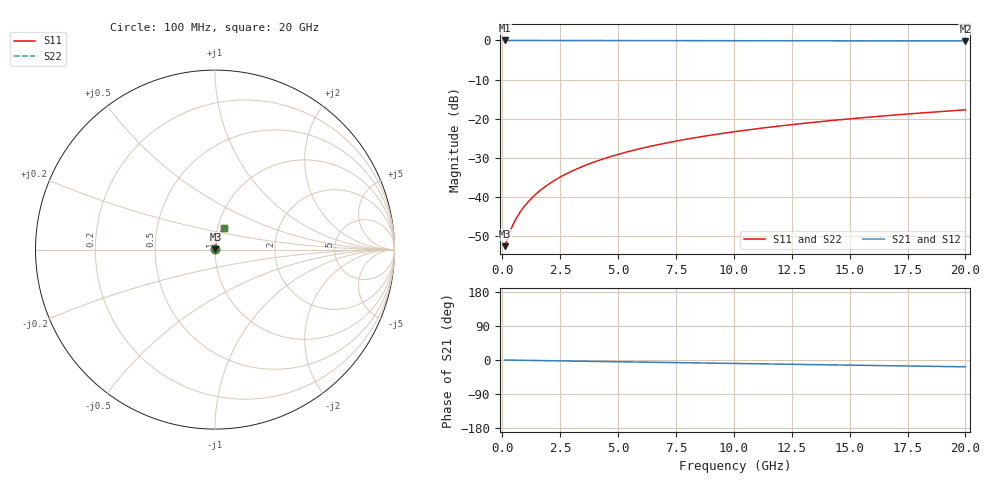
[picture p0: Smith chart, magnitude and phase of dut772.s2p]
! Touchstone file exported from HFSS 2026.1.0
!  File:  C:/ffzhzh/LocalFiles/Ansys_Project_Files/temp_train_TMRDL_772_1783155645_55132.aedt
!  Generated:  05:01:56 PM Jul  4, 2026
!  Design:  TMRDL
!  Project:  temp_train_TMRDL_772_1783155645_55132
! Variables:
!  h_bsmrdl = 2um
!  h_ox = 20um
!  h_rdl = 5um
!  h_sub = 80um
!  h_tmrdl = 3.13um
!  h_tsv = 80um
!  h_via = 3um
!  l_bsmrdl = 300um
!  l_sub = 678.77um
!  l_tmrdl = 278.77um
!  m_sub = 200um
!  pitch = 26.2um
!  r_tsv = 6um
!  s_tmrdl = 10um
!  w_bsmrdl = 18um
!  w_sub = 500um
!  w_tmrdl = 15.81um
!  x_tsv_center1 = 286.675um
!  x_tsv_center2 = 604.675um
!  x_tsv_center3 = 899.255um
!  x_tsv_center4 = 1217.255um
!  x_tsv_center5 = 1511.835um
!  x_tsv_center6 = 1829.835um
# GHz S MA R 50.000000
! Terminal data exported
! Port[1] = TM_RDL1_1_T1
! Port[2] = TM_RDL1_1_T2
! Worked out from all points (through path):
!   200 points, 100 MHz to 20 GHz, reference 50 ohm
!   highest |S21| = -0.02 dB at 100 MHz (marker M1); lowest = -0.1 dB at 20 GHz (marker M2)
!   group delay of S21, straight-line fit = 2.49 ps
!   lowest |S11| = -52.6 dB at 100 MHz (marker M3), VSWR 1.00, Z = 50.2 + j0.0842 ohm
!   |S11| at or under -10 dB: start of sweep to end of sweep
!   |S22| runs from -52.6 to -17.7 dB; largest |S21 - S12| = 4.6e-15
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0.1  0.002353 20.9  0.9978 -0.1  0.9978 -0.1  0.002353 20.9
! Gamma 0 0 0 0
! Port Impedance 50 0 50 0
0.4  0.004021 52.4  0.9975 -0.4  0.9975 -0.4  0.004022 52.4
0.5  0.004666 56.9  0.9975 -0.5  0.9975 -0.5  0.004666 56.9
0.6  0.005312 60.2  0.9974 -0.6  0.9974 -0.6  0.005312 60.2
0.7  0.005957 62.9  0.9973 -0.7  0.9973 -0.7  0.005957 62.8
0.9  0.007249 66.8  0.9972 -0.9  0.9972 -0.9  0.007249 66.8
1.2  0.009208 70.8  0.9971 -1.1  0.9971 -1.1  0.009208 70.7
1.4  0.01053 72.6  0.997 -1.3  0.997 -1.3  0.01053 72.6
1.7  0.01253 74.6  0.9969 -1.6  0.9969 -1.6  0.01253 74.6
2.2  0.01591 76.7  0.9968 -2.0  0.9968 -2.0  0.01591 76.7
2.8  0.02 78.1  0.9966 -2.6  0.9966 -2.6  0.02 78.1
3.5  0.02478 78.9  0.9963 -3.2  0.9963 -3.2  0.02478 78.9
4.2  0.02955 79.2  0.996 -3.9  0.996 -3.9  0.02955 79.2
5  0.03498 79.1  0.9956 -4.6  0.9956 -4.6  0.03498 79.1
5.9  0.04105 78.8  0.995 -5.4  0.995 -5.4  0.04105 78.8
6.8  0.04707 78.3  0.9945 -6.3  0.9945 -6.3  0.04707 78.4
8.3  0.05697 77.4  0.9934 -7.6  0.9934 -7.6  0.05697 77.4
10.1  0.06866 76.1  0.9921 -9.2  0.9921 -9.2  0.06866 76.1
11.7  0.07887 74.9  0.9908 -10.7  0.9908 -10.7  0.07887 74.9
13.4  0.08956 73.5  0.9893 -12.2  0.9893 -12.2  0.08956 73.6
16.7  0.1099 70.9  0.9863 -15.1  0.9863 -15.1  0.1099 71.0
20  0.1297 68.3  0.9832 -18.0  0.9832 -18.0  0.1297 68.3
